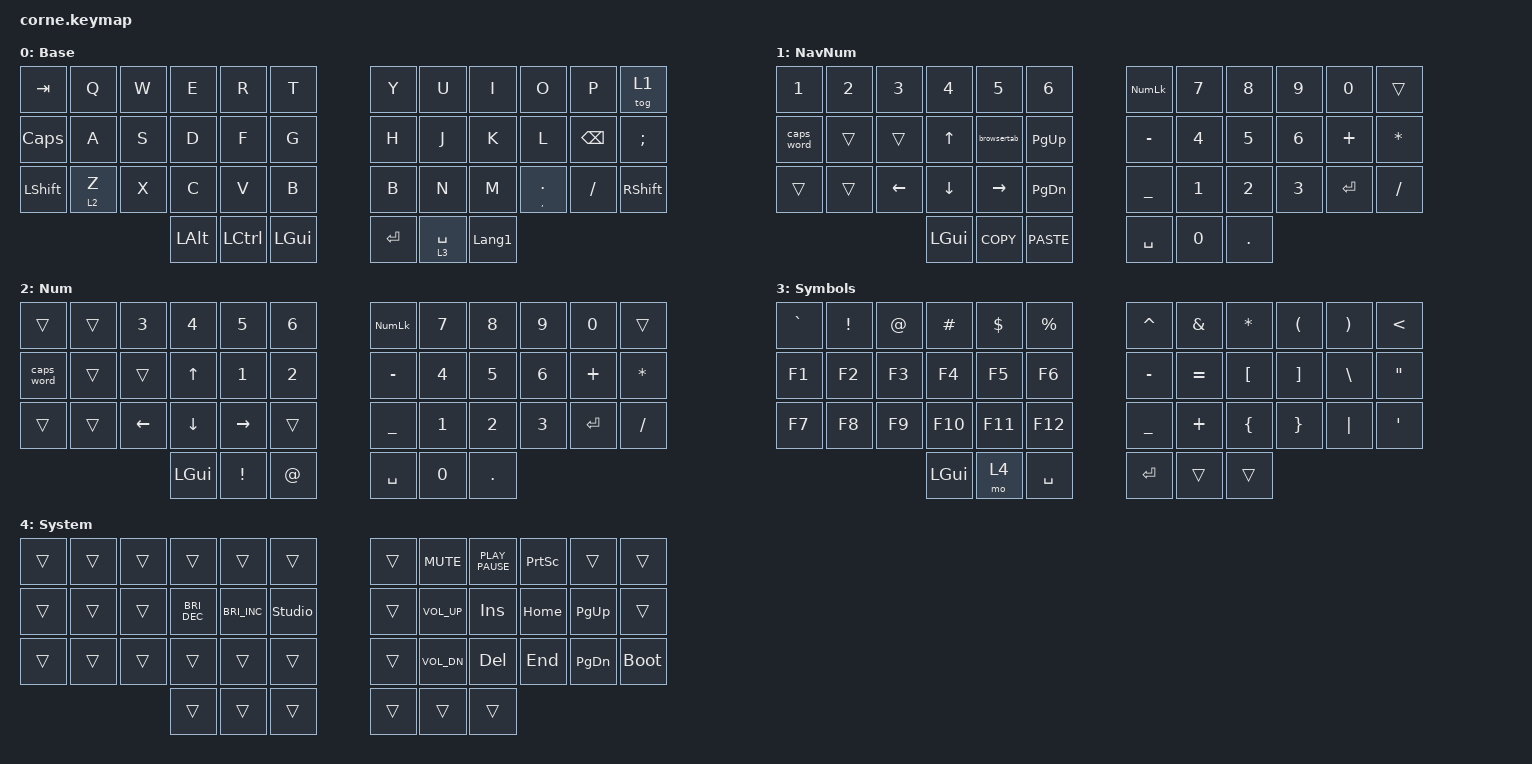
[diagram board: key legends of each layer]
#include <behaviors.dtsi>
#include <dt-bindings/zmk/keys.h>

#define DEF 0
#define NAV 1
#define SYM 2
#define ADJ 3
#define EXTRA 4

/ {
    behaviors {
        hm: homerow_mods {
            compatible = "zmk,behavior-hold-tap";
            #binding-cells = <2>;
            tapping-term-ms = <200>;
            flavor = "tap-preferred";
            bindings = <&kp>, <&kp>;

            quick-tap-ms = <180>;
            require-prior-idle-ms = <120>; /* tune to taste */
        };

        para: para {
            compatible = "zmk,behavior-tap-dance";
            #binding-cells = <0>;
            bindings = <&kp LEFT_PARENTHESIS>, <&kp RIGHT_PARENTHESIS>;
        };

        caps: caps {
            compatible = "zmk,behavior-caps-word";
            #binding-cells = <0>;
            continue-list = <MINUS BACKSPACE>;
        };

        paraless: paraless {
            compatible = "zmk,behavior-mod-morph";
            bindings = <&kp LEFT_PARENTHESIS>, <&kp LESS_THAN>;

            #binding-cells = <0>;
            mods = <(MOD_LSFT)>;
        };

        paragreat: paragreat {
            compatible = "zmk,behavior-mod-morph";
            bindings = <&kp RIGHT_PARENTHESIS>, <&kp GREATER_THAN>;

            #binding-cells = <0>;
            mods = <(MOD_LSFT)>;
        };
    };

    macros {
        browsertab: browsertab {
            compatible = "zmk,behavior-macro";
            #binding-cells = <0>;
            bindings =
                <&macro_press>,
                <&kp LCTRL>,
                <&macro_tap>,
                <&kp TAB>,
                <&macro_release>,
                <&kp LCTRL>;
        };
    };

    combos {
        compatible = "zmk,combos";

        escape {
            bindings = <&kp ESCAPE>;
            key-positions = <16 17>;
        };

        delete {
            bindings = <&kp DELETE>;
            key-positions = <18 19>;
        };

        perc {
            bindings = <&kp PERCENT>;
            key-positions = <5 17>;
            layers = <0>;
        };

        equal {
            bindings = <&kp EQUAL>;
            key-positions = <28 16>;
            layers = <0>;
        };

        dollar {
            bindings = <&kp DOLLAR>;
            key-positions = <4 16>;
            layers = <0>;
        };

        pound {
            bindings = <&kp POUND>;
            key-positions = <3 15>;
            layers = <0>;
        };

        at {
            bindings = <&kp AT>;
            key-positions = <2 14>;
            layers = <0>;
        };

        backslash {
            bindings = <&kp BACKSLASH>;
            key-positions = <26 14>;
            layers = <0>;
        };

        star {
            bindings = <&kp STAR>;
            key-positions = <8 20>;
            layers = <0>;
        };

        slash {
            bindings = <&kp SLASH>;
            key-positions = <32 20>;
            layers = <0>;
        };

        plus {
            bindings = <&kp PLUS>;
            key-positions = <7 19>;
            layers = <0>;
        };

        minus {
            bindings = <&kp KP_MINUS>;
            key-positions = <31 19>;
            layers = <0>;
        };

        underscore {
            bindings = <&kp UNDER>;
            key-positions = <30 18>;
            layers = <0>;
        };

        leftbrack {
            bindings = <&kp LEFT_BRACKET>;
            key-positions = <31 32>;
            layers = <0>;
        };

        rightbrack {
            bindings = <&kp RIGHT_BRACKET>;
            key-positions = <33 32>;
            layers = <0>;
        };

        para-less {
            bindings = <&paraless>;
            key-positions = <20 19>;
            layers = <0>;
        };

        para-great {
            bindings = <&paragreat>;
            key-positions = <20 21>;
            layers = <0>;
        };
    };

    //

    keymap {
        compatible = "zmk,keymap";

        DEF {
            display-name = "Base";

            // -----------------------------------------------------------------------------------------
            // |  Q  |  W  |  E  |  R  |  T  |   |  Y  |  U   |  I  |  O  |  P  |
            // |  A  |  S  |  D  |  F  |  G  |   |  H  |  J   |  K  |  L  |  ;  |
            // |  Z  |  X  |  C  |  V  |  B  |   |  N  |  M   |  ,  |  .  |  /  |
            // | GUI | CTRL | SHFT | LWR | SPC |   | ENT | RSE  | BKSP | ALT | ESC |

            bindings = <
&kp TAB         &kp Q    &kp W  &kp E         &kp R             &kp T           &kp Y    &kp U        &kp I           &kp O             &kp P          &tog 1
&kp CLCK        &kp A    &kp S  &kp D         &kp F             &kp G           &kp H    &kp J        &kp K           &kp L             &kp BACKSPACE  &kp SEMICOLON
&kp LEFT_SHIFT  &lt 2 Z  &kp X  &kp C         &kp V             &kp B           &kp B    &kp N        &kp M           &mt COMMA PERIOD  &kp FSLH       &kp RIGHT_SHIFT
                                &kp LEFT_ALT  &kp LEFT_CONTROL  &kp LEFT_GUI    &kp RET  &lt 3 SPACE  &kp LANGUAGE_1
            >;
        };

        NAV {
            display-name = "NavNum";

            // -----------------------------------------------------------------------------------------
            // |  TAB |  1  |  2  |  3  |  4  |  5  |   |  6  |  7  |  8  |  9  |  0  | BKSP |
            // | BTCLR| BT1 | BT2 | BT3 | BT4 | BT5 |   | LFT | DWN |  UP | RGT |     |      |
            // | SHFT |     |     |     |     |     |   |     |     |     |     |     |      |
            // | GUI | CTRL | SHFT | LWR | SPC |   | ENT | RSE  | BKSP | ALT | ESC |

            bindings = <
&kp N1      &kp N2  &kp N3    &kp NUMBER_4  &kp N5           &kp NUMBER_6     &kp KP_NUMLOCK  &kp N7        &kp N8      &kp N9  &kp N0    &trans
&caps_word  &trans  &trans    &kp UP_ARROW  &browsertab      &kp PAGE_UP      &kp MINUS       &kp N4        &kp N5      &kp N6  &kp PLUS  &kp ASTERISK
&trans      &trans  &kp LEFT  &kp DOWN      &kp RIGHT_ARROW  &kp PAGE_DOWN    &kp UNDERSCORE  &kp N1        &kp N2      &kp N3  &kp RET   &kp SLASH
                              &kp LGUI      &kp K_COPY       &kp K_PASTE      &kp SPACE       &kp NUMBER_0  &kp PERIOD
            >;
        };

        Num {
            display-name = "Num";
            bindings = <
&trans      &trans  &kp N3    &kp NUMBER_4  &kp N5           &kp NUMBER_6    &kp KP_NUMLOCK  &kp N7        &kp N8      &kp N9  &kp N0    &trans
&caps_word  &trans  &trans    &kp UP_ARROW  &kp NUMBER_1     &kp NUMBER_2    &kp MINUS       &kp N4        &kp N5      &kp N6  &kp PLUS  &kp ASTERISK
&trans      &trans  &kp LEFT  &kp DOWN      &kp RIGHT_ARROW  &trans          &kp UNDER       &kp N1        &kp N2      &kp N3  &kp RET   &kp SLASH
                              &kp LGUI      &kp EXCLAMATION  &kp AT_SIGN     &kp SPACE       &kp NUMBER_0  &kp PERIOD
            >;
        };

        SYM {
            display-name = "Symbols";

            // -----------------------------------------------------------------------------------------
            // |  TAB |  !  |  @  |  #  |  $  |  %  |   |  ^  |  &  |  *  |  (  |  )  | BKSP |
            // | CTRL |     |     |     |     |     |   |  -  |  =  |  [  |  ]  |  \  |  `   |
            // | SHFT |     |     |     |     |     |   |  _  |  +  |  {  |  }  | "|" |  ~   |
            //                    | GUI |     | SPC |   | ENT |     | ALT |

            bindings = <
&kp GRAVE  &kp EXCL  &kp AT  &kp HASH  &kp DLLR  &kp PRCNT    &kp CARET  &kp AMPS   &kp ASTRK  &kp LEFT_PARENTHESIS  &kp RPAR  &kp LESS_THAN
&kp F1     &kp F2    &kp F3  &kp F4    &kp F5    &kp F6       &kp MINUS  &kp EQUAL  &kp LBKT   &kp RBKT              &kp BSLH  &kp DOUBLE_QUOTES
&kp F7     &kp F8    &kp F9  &kp F10   &kp F11   &kp F12      &kp UNDER  &kp PLUS   &kp LBRC   &kp RBRC              &kp PIPE  &kp SQT
                             &kp LGUI  &mo 4     &kp SPACE    &kp RET    &trans     &trans
            >;
        };

        ADJ {
            display-name = "System";
            bindings = <
&trans  &trans  &trans  &trans                &trans                &trans            &trans  &kp K_MUTE       &kp K_PLAY_PAUSE  &kp PRINTSCREEN  &trans         &trans
&trans  &trans  &trans  &kp C_BRIGHTNESS_DEC  &kp C_BRIGHTNESS_INC  &studio_unlock    &trans  &kp C_VOLUME_UP  &kp INS           &kp HOME         &kp PAGE_UP    &trans
&trans  &trans  &trans  &trans                &trans                &trans            &trans  &kp C_VOL_DN     &kp DEL           &kp END          &kp PAGE_DOWN  &bootloader
                        &trans                &trans                &trans            &trans  &trans           &trans
            >;
        };
    };
};
